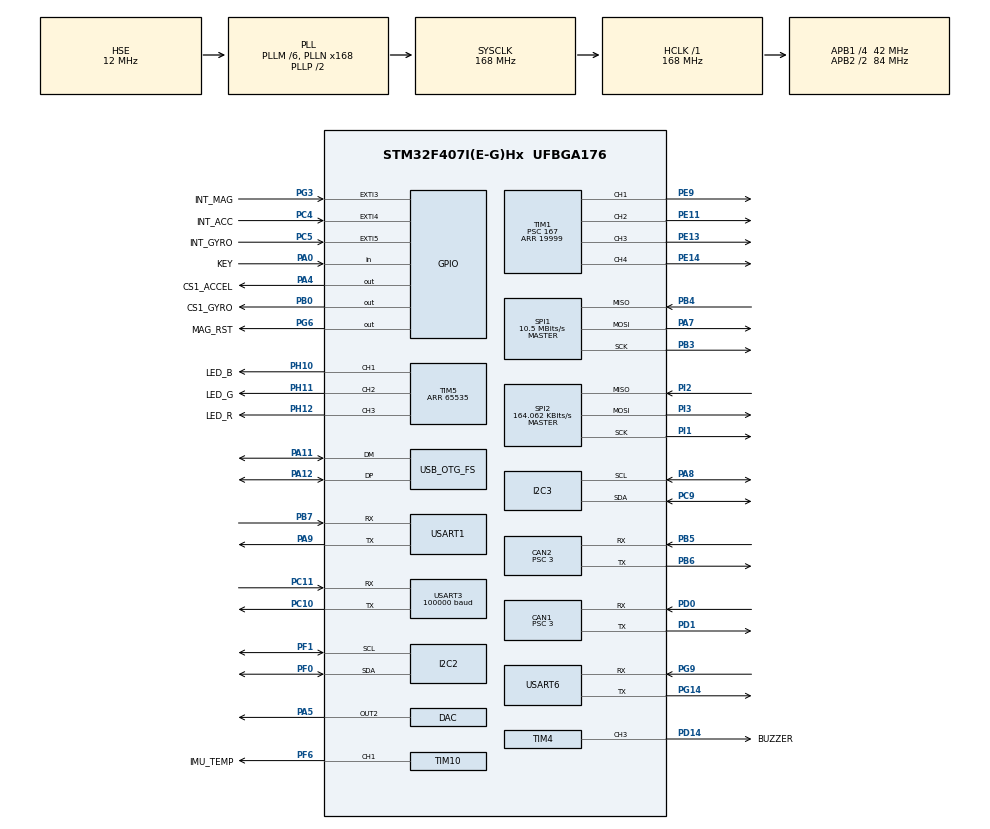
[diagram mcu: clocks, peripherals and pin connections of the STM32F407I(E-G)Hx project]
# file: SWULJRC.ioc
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ADC1.Channel-0\#ChannelRegularConversion=ADC_CHANNEL_TEMPSENSOR
ADC1.NbrOfConversionFlag=1
ADC1.Rank-0\#ChannelRegularConversion=1
ADC1.SamplingTime-0\#ChannelRegularConversion=ADC_SAMPLETIME_3CYCLES
ADC1.master=1
CAN1.BS1=CAN_BS1_10TQ
CAN1.BS2=CAN_BS2_3TQ
CAN1.CalculateBaudRate=1000000
CAN1.CalculateTimeBit=1000
CAN1.CalculateTimeQuantum=71.42857142857143
CAN1.NART=ENABLE
CAN1.Prescaler=3
CAN1.TXFP=ENABLE
CAN2.BS1=CAN_BS1_10TQ
CAN2.BS2=CAN_BS2_3TQ
CAN2.CalculateBaudRate=1000000
CAN2.CalculateTimeBit=1000
CAN2.CalculateTimeQuantum=71.42857142857143
CAN2.NART=ENABLE
CAN2.Prescaler=3
CAN2.TXFP=ENABLE
Dma.I2C2_RX.0.Direction=DMA_PERIPH_TO_MEMORY
Dma.I2C2_RX.0.FIFOMode=DMA_FIFOMODE_DISABLE
Dma.I2C2_RX.0.Instance=DMA1_Stream2
Dma.I2C2_RX.0.MemDataAlignment=DMA_MDATAALIGN_BYTE
Dma.I2C2_RX.0.MemInc=DMA_MINC_ENABLE
Dma.I2C2_RX.0.Mode=DMA_NORMAL
Dma.I2C2_RX.0.PeriphDataAlignment=DMA_PDATAALIGN_BYTE
Dma.I2C2_RX.0.PeriphInc=DMA_PINC_DISABLE
Dma.I2C2_RX.0.Priority=DMA_PRIORITY_LOW
Dma.I2C2_TX.1.Direction=DMA_MEMORY_TO_PERIPH
Dma.I2C2_TX.1.FIFOMode=DMA_FIFOMODE_DISABLE
Dma.I2C2_TX.1.Instance=DMA1_Stream7
Dma.I2C2_TX.1.MemDataAlignment=DMA_MDATAALIGN_BYTE
Dma.I2C2_TX.1.MemInc=DMA_MINC_ENABLE
Dma.I2C2_TX.1.Mode=DMA_NORMAL
Dma.I2C2_TX.1.PeriphDataAlignment=DMA_PDATAALIGN_BYTE
Dma.I2C2_TX.1.PeriphInc=DMA_PINC_DISABLE
Dma.I2C2_TX.1.Priority=DMA_PRIORITY_LOW
Dma.Request0=I2C2_RX
Dma.Request1=I2C2_TX
Dma.Request2=SPI1_TX
Dma.Request3=SPI1_RX
Dma.Request4=USART6_RX
Dma.Request5=USART6_TX
Dma.Request6=USART1_RX
Dma.Request7=USART1_TX
Dma.Request8=USART3_RX
Dma.SPI1_RX.3.Direction=DMA_PERIPH_TO_MEMORY
Dma.SPI1_RX.3.FIFOMode=DMA_FIFOMODE_DISABLE
Dma.SPI1_RX.3.Instance=DMA2_Stream0
Dma.SPI1_RX.3.MemDataAlignment=DMA_MDATAALIGN_BYTE
Dma.SPI1_RX.3.MemInc=DMA_MINC_ENABLE
Dma.SPI1_RX.3.Mode=DMA_NORMAL
Dma.SPI1_RX.3.PeriphDataAlignment=DMA_PDATAALIGN_BYTE
Dma.SPI1_RX.3.PeriphInc=DMA_PINC_DISABLE
Dma.SPI1_RX.3.Priority=DMA_PRIORITY_HIGH
Dma.SPI1_TX.2.Direction=DMA_MEMORY_TO_PERIPH
Dma.SPI1_TX.2.FIFOMode=DMA_FIFOMODE_DISABLE
Dma.SPI1_TX.2.Instance=DMA2_Stream3
Dma.SPI1_TX.2.MemDataAlignment=DMA_MDATAALIGN_BYTE
Dma.SPI1_TX.2.MemInc=DMA_MINC_ENABLE
Dma.SPI1_TX.2.Mode=DMA_NORMAL
Dma.SPI1_TX.2.PeriphDataAlignment=DMA_PDATAALIGN_BYTE
Dma.SPI1_TX.2.PeriphInc=DMA_PINC_DISABLE
Dma.SPI1_TX.2.Priority=DMA_PRIORITY_HIGH
Dma.USART1_RX.6.Direction=DMA_PERIPH_TO_MEMORY
Dma.USART1_RX.6.FIFOMode=DMA_FIFOMODE_DISABLE
Dma.USART1_RX.6.Instance=DMA2_Stream2
Dma.USART1_RX.6.MemDataAlignment=DMA_MDATAALIGN_BYTE
Dma.USART1_RX.6.MemInc=DMA_MINC_ENABLE
Dma.USART1_RX.6.Mode=DMA_NORMAL
Dma.USART1_RX.6.PeriphDataAlignment=DMA_PDATAALIGN_BYTE
Dma.USART1_RX.6.PeriphInc=DMA_PINC_DISABLE
Dma.USART1_RX.6.Priority=DMA_PRIORITY_VERY_HIGH
Dma.USART1_TX.7.Direction=DMA_MEMORY_TO_PERIPH
Dma.USART1_TX.7.FIFOMode=DMA_FIFOMODE_DISABLE
Dma.USART1_TX.7.Instance=DMA2_Stream7
Dma.USART1_TX.7.MemDataAlignment=DMA_MDATAALIGN_BYTE
Dma.USART1_TX.7.MemInc=DMA_MINC_ENABLE
Dma.USART1_TX.7.Mode=DMA_NORMAL
Dma.USART1_TX.7.PeriphDataAlignment=DMA_PDATAALIGN_BYTE
Dma.USART1_TX.7.PeriphInc=DMA_PINC_DISABLE
Dma.USART1_TX.7.Priority=DMA_PRIORITY_VERY_HIGH
Dma.USART3_RX.8.Direction=DMA_PERIPH_TO_MEMORY
Dma.USART3_RX.8.FIFOMode=DMA_FIFOMODE_DISABLE
Dma.USART3_RX.8.Instance=DMA1_Stream1
Dma.USART3_RX.8.MemDataAlignment=DMA_MDATAALIGN_BYTE
Dma.USART3_RX.8.MemInc=DMA_MINC_ENABLE
Dma.USART3_RX.8.Mode=DMA_NORMAL
Dma.USART3_RX.8.PeriphDataAlignment=DMA_PDATAALIGN_BYTE
Dma.USART3_RX.8.PeriphInc=DMA_PINC_DISABLE
Dma.USART3_RX.8.Priority=DMA_PRIORITY_LOW
Dma.USART6_RX.4.Direction=DMA_PERIPH_TO_MEMORY
Dma.USART6_RX.4.FIFOMode=DMA_FIFOMODE_DISABLE
Dma.USART6_RX.4.Instance=DMA2_Stream1
Dma.USART6_RX.4.MemDataAlignment=DMA_MDATAALIGN_BYTE
Dma.USART6_RX.4.MemInc=DMA_MINC_ENABLE
Dma.USART6_RX.4.Mode=DMA_NORMAL
Dma.USART6_RX.4.PeriphDataAlignment=DMA_PDATAALIGN_BYTE
Dma.USART6_RX.4.PeriphInc=DMA_PINC_DISABLE
Dma.USART6_RX.4.Priority=DMA_PRIORITY_HIGH
Dma.USART6_TX.5.Direction=DMA_MEMORY_TO_PERIPH
Dma.USART6_TX.5.FIFOMode=DMA_FIFOMODE_DISABLE
Dma.USART6_TX.5.Instance=DMA2_Stream6
Dma.USART6_TX.5.MemDataAlignment=DMA_MDATAALIGN_BYTE
Dma.USART6_TX.5.MemInc=DMA_MINC_ENABLE
Dma.USART6_TX.5.Mode=DMA_NORMAL
Dma.USART6_TX.5.PeriphDataAlignment=DMA_PDATAALIGN_BYTE
Dma.USART6_TX.5.PeriphInc=DMA_PINC_DISABLE
Dma.USART6_TX.5.Priority=DMA_PRIORITY_HIGH
FREERTOS.Tasks01=defaultTask,0,128,StartDefaultTask,Default,NULL,Dynamic,NULL,NULL
FREERTOS.configENABLE_FPU=1
FREERTOS.configMAX_TASK_NAME_LEN=32
FREERTOS.configMINIMAL_STACK_SIZE=128
FREERTOS.configTOTAL_HEAP_SIZE=20000
I2C2.I2C_Mode=I2C_Fast
I2C3.I2C_Mode=I2C_Fast
Mcu.Family=STM32F4
Mcu.Name=STM32F407I(E-G)Hx
Mcu.Package=UFBGA176
NVIC.CAN1_RX0_IRQn=true\:5\:0\:false\:false\:true\:true\:true\:true\:true
NVIC.CAN1_RX1_IRQn=true\:5\:0\:false\:false\:true\:true\:true\:true\:true
NVIC.DMA1_Stream1_IRQn=true\:5\:0\:false\:false\:true\:true\:false\:true\:true
NVIC.DMA1_Stream2_IRQn=true\:5\:0\:false\:false\:true\:true\:false\:true\:true
NVIC.DMA1_Stream7_IRQn=true\:5\:0\:false\:false\:true\:true\:false\:true\:true
NVIC.DMA2_Stream0_IRQn=true\:5\:0\:false\:false\:true\:true\:false\:true\:true
NVIC.DMA2_Stream1_IRQn=true\:5\:0\:false\:false\:true\:true\:false\:true\:true
NVIC.DMA2_Stream2_IRQn=true\:5\:0\:false\:false\:true\:true\:false\:true\:true
NVIC.DMA2_Stream3_IRQn=true\:5\:0\:false\:false\:true\:true\:false\:true\:true
NVIC.DMA2_Stream6_IRQn=true\:5\:0\:false\:false\:true\:true\:false\:true\:true
NVIC.DMA2_Stream7_IRQn=true\:5\:0\:false\:false\:true\:true\:false\:true\:true
NVIC.EXTI3_IRQn=true\:5\:0\:false\:false\:true\:false\:true\:true\:true
NVIC.EXTI4_IRQn=true\:5\:0\:false\:false\:true\:false\:true\:true\:true
NVIC.EXTI9_5_IRQn=true\:5\:0\:false\:false\:true\:false\:true\:true\:true
NVIC.I2C2_ER_IRQn=true\:5\:0\:false\:false\:true\:true\:true\:true\:true
NVIC.I2C2_EV_IRQn=true\:5\:0\:false\:false\:true\:true\:true\:true\:true
NVIC.I2C3_ER_IRQn=true\:5\:0\:false\:false\:true\:true\:true\:true\:true
NVIC.I2C3_EV_IRQn=true\:5\:0\:false\:false\:true\:true\:true\:true\:true
NVIC.OTG_FS_IRQn=true\:5\:0\:false\:false\:true\:true\:false\:true\:true
NVIC.PriorityGroup=NVIC_PRIORITYGROUP_4
NVIC.SPI1_IRQn=true\:5\:0\:false\:false\:true\:true\:true\:true\:true
NVIC.SPI2_IRQn=true\:5\:0\:false\:false\:true\:true\:true\:true\:true
NVIC.TIM8_TRG_COM_TIM14_IRQn=true\:15\:0\:true\:false\:true\:false\:false\:true\:true
NVIC.TimeBase=TIM8_TRG_COM_TIM14_IRQn
NVIC.TimeBaseIP=TIM14
NVIC.USART1_IRQn=true\:5\:0\:false\:false\:true\:true\:true\:true\:true
NVIC.USART3_IRQn=true\:5\:0\:false\:false\:true\:true\:true\:true\:true
NVIC.USART6_IRQn=true\:5\:0\:false\:false\:true\:true\:false\:true\:true
PA0-WKUP.GPIO_Label=KEY
PA0-WKUP.GPIO_PuPd=GPIO_PULLUP
PA0-WKUP.Signal=GPIO_Input
PA11.Mode=Host_Only
PA11.Signal=USB_OTG_FS_DM
PA12.Mode=Host_Only
PA12.Signal=USB_OTG_FS_DP
PA13.Mode=Serial_Wire
PA13.Signal=SYS_JTMS-SWDIO
PA14.Mode=Serial_Wire
PA14.Signal=SYS_JTCK-SWCLK
PA4.GPIO_Label=CS1_ACCEL
PA4.GPIO_PuPd=GPIO_PULLUP
PA4.GPIO_Speed=GPIO_SPEED_FREQ_HIGH
PA4.PinState=GPIO_PIN_SET
PA4.Signal=GPIO_Output
PA5.Signal=COMP_DAC2_group
PA7.Mode=Full_Duplex_Master
PA7.Signal=SPI1_MOSI
PA8.Mode=I2C
PA8.Signal=I2C3_SCL
PA9.Mode=Asynchronous
PA9.Signal=USART1_TX
PB0.GPIO_Label=CS1_GYRO
PB0.GPIO_PuPd=GPIO_PULLUP
PB0.GPIO_Speed=GPIO_SPEED_FREQ_HIGH
PB0.PinState=GPIO_PIN_SET
PB0.Signal=GPIO_Output
PB3.Mode=Full_Duplex_Master
PB3.Signal=SPI1_SCK
PB4.Mode=Full_Duplex_Master
PB4.Signal=SPI1_MISO
PB5.Mode=CAN_Activate
PB5.Signal=CAN2_RX
PB6.Mode=CAN_Activate
PB6.Signal=CAN2_TX
PB7.Mode=Asynchronous
PB7.Signal=USART1_RX
PC10.Mode=Asynchronous
PC10.Signal=USART3_TX
PC11.Mode=Asynchronous
PC11.Signal=USART3_RX
PC4.GPIO_Label=INT_ACC
PC4.Signal=GPXTI4
PC5.GPIO_Label=INT_GYRO
PC5.Signal=GPXTI5
PC9.Mode=I2C
PC9.Signal=I2C3_SDA
PD0.Mode=CAN_Activate
PD0.Signal=CAN1_RX
PD1.Mode=CAN_Activate
PD1.Signal=CAN1_TX
PD14.GPIO_Label=BUZZER
PD14.GPIO_PuPd=GPIO_PULLUP
PD14.GPIO_Speed=GPIO_SPEED_FREQ_VERY_HIGH
PD14.Signal=S_TIM4_CH3
PE11.Signal=S_TIM1_CH2
PE13.Signal=S_TIM1_CH3
PE14.Signal=S_TIM1_CH4
PE9.Signal=S_TIM1_CH1
PF0.Mode=I2C
PF0.Signal=I2C2_SDA
PF1.Mode=I2C
PF1.Signal=I2C2_SCL
PF6.GPIO_Label=IMU_TEMP
PF6.GPIO_PuPd=GPIO_PULLUP
PF6.GPIO_Speed=GPIO_SPEED_FREQ_HIGH
PF6.Signal=S_TIM10_CH1
PG14.Mode=Asynchronous
PG14.Signal=USART6_TX
PG3.GPIO_Label=INT_MAG
PG3.GPIO_PuPd=GPIO_PULLUP
PG3.Signal=GPXTI3
PG6.GPIO_Label=MAG_RST
PG6.Signal=GPIO_Output
PG9.Mode=Asynchronous
PG9.Signal=USART6_RX
PH0-OSC_IN.Mode=HSE-External-Oscillator
PH0-OSC_IN.Signal=RCC_OSC_IN
PH1-OSC_OUT.Mode=HSE-External-Oscillator
PH1-OSC_OUT.Signal=RCC_OSC_OUT
PH10.GPIO_Label=LED_B
PH10.GPIO_PuPd=GPIO_PULLUP
PH10.GPIO_Speed=GPIO_SPEED_FREQ_HIGH
PH10.Signal=S_TIM5_CH1
PH11.GPIO_Label=LED_G
PH11.GPIO_PuPd=GPIO_PULLUP
PH11.GPIO_Speed=GPIO_SPEED_FREQ_HIGH
PH11.Signal=S_TIM5_CH2
PH12.GPIO_Label=LED_R
PH12.GPIO_PuPd=GPIO_PULLUP
PH12.GPIO_Speed=GPIO_SPEED_FREQ_HIGH
PH12.Signal=S_TIM5_CH3
PI1.Mode=Full_Duplex_Master
PI1.Signal=SPI2_SCK
PI2.Mode=Full_Duplex_Master
PI2.Signal=SPI2_MISO
PI3.Mode=Full_Duplex_Master
PI3.Signal=SPI2_MOSI
ProjectManager.HeapSize=0x200
ProjectManager.StackSize=0x400
ProjectManager.TargetToolchain=Makefile
RCC.48MHZClocksFreq_Value=48000000
RCC.AHBFreq_Value=168000000
RCC.APB1CLKDivider=RCC_HCLK_DIV4
RCC.APB1Freq_Value=42000000
RCC.APB1TimFreq_Value=84000000
RCC.APB2CLKDivider=RCC_HCLK_DIV2
RCC.APB2Freq_Value=84000000
RCC.APB2TimFreq_Value=168000000
RCC.CortexFreq_Value=168000000
RCC.HCLKFreq_Value=168000000
RCC.HSE_VALUE=12000000
RCC.HSI_VALUE=16000000
RCC.LSE_VALUE=32768
RCC.PLLM=6
RCC.PLLN=168
RCC.PLLQ=7
RCC.SYSCLKFreq_VALUE=168000000
RCC.SYSCLKSource=RCC_SYSCLKSOURCE_PLLCLK
RCC.VCOOutputFreq_Value=336000000
RTC.AsynchPrediv=124
RTC.SynchPrediv=3199
SH.COMP_DAC2_group.0=DAC_OUT2,DAC_OUT2
SH.S_TIM10_CH1.0=TIM10_CH1,PWM Generation1 CH1
SH.S_TIM1_CH1.0=TIM1_CH1,PWM Generation1 CH1
SH.S_TIM1_CH2.0=TIM1_CH2,PWM Generation2 CH2
SH.S_TIM1_CH3.0=TIM1_CH3,PWM Generation3 CH3
SH.S_TIM1_CH4.0=TIM1_CH4,PWM Generation4 CH4
SH.S_TIM4_CH3.0=TIM4_CH3,PWM Generation3 CH3
SH.S_TIM5_CH1.0=TIM5_CH1,PWM Generation1 CH1
SH.S_TIM5_CH2.0=TIM5_CH2,PWM Generation2 CH2
SH.S_TIM5_CH3.0=TIM5_CH3,PWM Generation3 CH3
SPI1.BaudRatePrescaler=SPI_BAUDRATEPRESCALER_8
SPI1.CLKPhase=SPI_PHASE_2EDGE
SPI1.CLKPolarity=SPI_POLARITY_HIGH
SPI1.CalculateBaudRate=10.5 MBits/s
SPI1.Direction=SPI_DIRECTION_2LINES
SPI1.Mode=SPI_MODE_MASTER
SPI1.VirtualType=VM_MASTER
SPI2.BaudRatePrescaler=SPI_BAUDRATEPRESCALER_256
SPI2.CLKPhase=SPI_PHASE_2EDGE
SPI2.CLKPolarity=SPI_POLARITY_HIGH
SPI2.CalculateBaudRate=164.062 KBits/s
SPI2.Direction=SPI_DIRECTION_2LINES
SPI2.Mode=SPI_MODE_MASTER
SPI2.VirtualType=VM_MASTER
STMicroelectronics.X-CUBE-ALGOBUILD.1.4.0.LibraryCcDSPOoLibraryJjDSPOoLibrary=true
TIM1.Channel-PWM\ Generation1\ CH1=TIM_CHANNEL_1
TIM1.Channel-PWM\ Generation2\ CH2=TIM_CHANNEL_2
TIM1.Channel-PWM\ Generation3\ CH3=TIM_CHANNEL_3
TIM1.Channel-PWM\ Generation4\ CH4=TIM_CHANNEL_4
TIM1.Period=19999
TIM1.Prescaler=167
TIM10.Channel=TIM_CHANNEL_1
TIM10.Period=4999
TIM10.Prescaler=167
TIM4.Channel-PWM\ Generation3\ CH3=TIM_CHANNEL_3
TIM4.Prescaler=167
TIM5.Channel-PWM\ Generation1\ CH1=TIM_CHANNEL_1
TIM5.Channel-PWM\ Generation2\ CH2=TIM_CHANNEL_2
TIM5.Channel-PWM\ Generation3\ CH3=TIM_CHANNEL_3
TIM5.Period=65535
USART1.VirtualMode=VM_ASYNC
USART3.BaudRate=100000
USART3.Parity=PARITY_EVEN
USART3.StopBits=STOPBITS_2
USART3.VirtualMode=VM_ASYNC
USART3.WordLength=WORDLENGTH_9B
USART6.VirtualMode=VM_ASYNC
USB_HOST.USBH_HandleTypeDef-HID_FS=hUsbHostFS
USB_HOST.USBH_PROCESS_STACK_SIZE-HID_FS=512
USB_HOST.USBH_USE_OS-HID_FS=0
USB_HOST.VirtualModeFS=Hid
USB_OTG_FS.VirtualMode=Host_Only
USB_OTG_FS.phy_itface=HCD_PHY_EMBEDDED
USB_OTG_FS.speed=HCD_SPEED_LOW
VP_ADC1_TempSens_Input.Mode=IN-TempSens
VP_ADC1_Vref_Input.Mode=IN-Vrefint
VP_CRC_VS_CRC.Mode=CRC_Activate
VP_FREERTOS_VS_CMSIS_V1.Mode=CMSIS_V1
VP_RNG_VS_RNG.Mode=RNG_Activate
VP_RTC_VS_RTC_Activate.Mode=RTC_Enabled
VP_STMicroelectronics.X-CUBE-ALGOBUILD_VS_DSPOoLibraryJjLibrary_1.4.0_1.4.0.Mode=DSPOoLibraryJjLibrary
VP_SYS_VS_tim14.Mode=TIM14
VP_TIM10_VS_ClockSourceINT.Mode=Enable_Timer
VP_TIM1_VS_ClockSourceINT.Mode=Internal
VP_TIM4_VS_ClockSourceINT.Mode=Internal
VP_TIM5_VS_ClockSourceINT.Mode=Internal
VP_USB_HOST_VS_USB_HOST_HID_FS.Mode=HID_FS
board=custom

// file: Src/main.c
/* USER CODE BEGIN Header */
/**
 ******************************************************************************
 * @file           : main.c
 * @brief          : Main program body
 ******************************************************************************
 * @attention
 *
 * Copyright (c) 2024 STMicroelectronics.
 * All rights reserved.
 *
 * This software is licensed under terms that can be found in the LICENSE file
 * in the root directory of this software component.
 * If no LICENSE file comes with this software, it is provided AS-IS.
 *
 ******************************************************************************
 */
/* USER CODE END Header */
#include "main.h"
#include "cmsis_os.h"
#include "adc.h"
#include "can.h"
#include "crc.h"
#include "dac.h"
#include "dma.h"
#include "i2c.h"
#include "rng.h"
#include "rtc.h"
#include "spi.h"
#include "tim.h"
#include "usart.h"
#include "usb_host.h"
#include "gpio.h"

/* USER CODE BEGIN Includes */
#include "bsp_log.h"
/* USER CODE END Includes */

/* USER CODE BEGIN PD */
#ifdef __GNUC__
#define PUTCHAR_PROTOTYPE int __io_putchar(int ch)
#else
#define PUTCHAR_PROTOTYPE int fputc(int ch, FILE *f)
#endif

PUTCHAR_PROTOTYPE
{
  HAL_UART_Transmit(&huart6, (uint8_t *)&ch, 1, HAL_MAX_DELAY);
  return ch;
}
/* USER CODE END PD */

void SystemClock_Config(void);
void MX_FREERTOS_Init(void);

/* USER CODE BEGIN 0 */

/**
 * @brief 重定向printf，针对gcc编译器
 *
 * @param fd
 * @param pBuffer
 * @param size
 * @return int
 */
int _write(int fd, char *pBuffer, int size)
{
  for (int i = 0; i < size; i++)
  {
    while ((USART6->SR & 0X40) == 0)
      ;
    USART6->DR = (uint8_t)pBuffer[i];
  }
  return size;
}

/* USER CODE END 0 */

int main(void)
{

  /* MCU Configuration--------------------------------------------------------*/

  /* Reset of all peripherals, Initializes the Flash interface and the Systick. */
  HAL_Init();

  /* Configure the system clock */
  SystemClock_Config();

  /* Initialize all configured peripherals */
  MX_GPIO_Init();
  MX_DMA_Init();
  MX_CAN1_Init();
  MX_CAN2_Init();
  MX_I2C2_Init();
  MX_USART1_UART_Init();
  MX_USART6_UART_Init();
  MX_I2C3_Init();
  MX_SPI1_Init();
  MX_ADC1_Init();
  MX_CRC_Init();
  MX_DAC_Init();
  MX_RNG_Init();
  MX_RTC_Init();
  MX_SPI2_Init();
  MX_TIM1_Init();
  MX_TIM4_Init();
  MX_TIM5_Init();
  MX_TIM10_Init();
  MX_USART3_UART_Init();

  /* Call init function for freertos objects (in cmsis_os2.c) */
  MX_FREERTOS_Init();

  /* Start scheduler */
  osKernelStart();

  /* We should never get here as control is now taken by the scheduler */

  /* Infinite loop */
  while (1)
  {

  }
}

void SystemClock_Config(void)
{
  RCC_OscInitTypeDef RCC_OscInitStruct = {0};
  RCC_ClkInitTypeDef RCC_ClkInitStruct = {0};

  /** Configure the main internal regulator output voltage
   */
  __HAL_RCC_PWR_CLK_ENABLE();
  __HAL_PWR_VOLTAGESCALING_CONFIG(PWR_REGULATOR_VOLTAGE_SCALE1);

  /** Initializes the RCC Oscillators according to the specified parameters
   * in the RCC_OscInitTypeDef structure.
   */
  RCC_OscInitStruct.OscillatorType = RCC_OSCILLATORTYPE_LSI | RCC_OSCILLATORTYPE_HSE;
  RCC_OscInitStruct.HSEState = RCC_HSE_ON;
  RCC_OscInitStruct.LSIState = RCC_LSI_ON;
  RCC_OscInitStruct.PLL.PLLState = RCC_PLL_ON;
  RCC_OscInitStruct.PLL.PLLSource = RCC_PLLSOURCE_HSE;
  RCC_OscInitStruct.PLL.PLLM = 6;
  RCC_OscInitStruct.PLL.PLLN = 168;
  RCC_OscInitStruct.PLL.PLLP = RCC_PLLP_DIV2;
  RCC_OscInitStruct.PLL.PLLQ = 7;
  if (HAL_RCC_OscConfig(&RCC_OscInitStruct) != HAL_OK)
  {
    Error_Handler();
  }

  /** Initializes the CPU, AHB and APB buses clocks
   */
  RCC_ClkInitStruct.ClockType = RCC_CLOCKTYPE_HCLK | RCC_CLOCKTYPE_SYSCLK | RCC_CLOCKTYPE_PCLK1 | RCC_CLOCKTYPE_PCLK2;
  RCC_ClkInitStruct.SYSCLKSource = RCC_SYSCLKSOURCE_PLLCLK;
  RCC_ClkInitStruct.AHBCLKDivider = RCC_SYSCLK_DIV1;
  RCC_ClkInitStruct.APB1CLKDivider = RCC_HCLK_DIV4;
  RCC_ClkInitStruct.APB2CLKDivider = RCC_HCLK_DIV2;

  if (HAL_RCC_ClockConfig(&RCC_ClkInitStruct, FLASH_LATENCY_5) != HAL_OK)
  {
    Error_Handler();
  }
}

void HAL_TIM_PeriodElapsedCallback(TIM_HandleTypeDef *htim)
{
  if (htim->Instance == TIM14)
  {
    HAL_IncTick();
  }
}

void Error_Handler(void)
{
  __disable_irq();
  while (1)
  {
  }
}

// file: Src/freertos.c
/* USER CODE BEGIN Header */
/**
 ******************************************************************************
 * File Name          : freertos.c
 * Description        : Code for freertos applications
 ******************************************************************************
 * @attention
 *
 * Copyright (c) 2024 STMicroelectronics.
 * All rights reserved.
 *
 * This software is licensed under terms that can be found in the LICENSE file
 * in the root directory of this software component.
 * If no LICENSE file comes with this software, it is provided AS-IS.
 *
 ******************************************************************************
 */
/* USER CODE END Header */

#include "FreeRTOS.h"
#include "task.h"
#include "main.h"
#include "cmsis_os.h"

/* USER CODE BEGIN Includes */
#include "usbh_hid.h"
#include "usbh_core.h"
/* USER CODE END Includes */

/* USER CODE BEGIN Variables */
extern HID_JOY_Info_TypeDef joy_info;
extern USBH_HandleTypeDef hUsbHostFS;
/* USER CODE END Variables */
osThreadId defaultTaskHandle;

void StartDefaultTask(void const * argument);

extern void MX_USB_HOST_Init(void);
void MX_FREERTOS_Init(void); /* (MISRA C 2004 rule 8.1) */

/* GetIdleTaskMemory prototype (linked to static allocation support) */
void vApplicationGetIdleTaskMemory( StaticTask_t **ppxIdleTaskTCBBuffer, StackType_t **ppxIdleTaskStackBuffer, uint32_t *pulIdleTaskStackSize );

/* USER CODE BEGIN GET_IDLE_TASK_MEMORY */
static StaticTask_t xIdleTaskTCBBuffer;
static StackType_t xIdleStack[configMINIMAL_STACK_SIZE];

void vApplicationGetIdleTaskMemory(StaticTask_t **ppxIdleTaskTCBBuffer, StackType_t **ppxIdleTaskStackBuffer, uint32_t *pulIdleTaskStackSize)
{
  *ppxIdleTaskTCBBuffer = &xIdleTaskTCBBuffer;
  *ppxIdleTaskStackBuffer = &xIdleStack[0];
  *pulIdleTaskStackSize = configMINIMAL_STACK_SIZE;
  /* place for user code */
}
/* USER CODE END GET_IDLE_TASK_MEMORY */

void MX_FREERTOS_Init(void) {

  /* Create the thread(s) */
  /* definition and creation of defaultTask */
  osThreadDef(defaultTask, StartDefaultTask, osPriorityNormal, 0, 128);
  defaultTaskHandle = osThreadCreate(osThread(defaultTask), NULL);

}

void StartDefaultTask(void const * argument)
{
  /* init code for USB_HOST */
  MX_USB_HOST_Init();
  /* USER CODE BEGIN StartDefaultTask */
  osThreadTerminate(NULL); // 避免空置和切换占用cpu
  /* Infinite loop */
  for (;;)
  {
    osMessagePut(hUsbHostFS.os_event, 1, 10);
    // USBH_Process(&hUsbHostFS);
    // printf("Here is the default task!\r\n");
    // if (USBH_HID_GetDeviceType(&hUsbHostFS) == HID_JOYSTICK)
    // {
    //   printf("This is a joystick device!\r\n");
    //   if (USBH_HID_GetJoyInfo(&hUsbHostFS) != NULL)
    //   {
    //     printf("Joystick info:\r\n");
    //     if (joy_info.L_X != JOY_L_X_INIT || joy_info.L_Y != JOY_L_Y_INIT) // 0X80/0X7F?Byte1 Byte2?????
    //     {
    //       printf("(L_x, L_y):(0x%.2X, 0x%.2X)\r\n", joy_info.L_X, joy_info.L_Y);
    //     }
    //     if (joy_info.R_X != JOY_R_X_INIT || joy_info.R_Y != JOY_R_Y_INIT) // 0X80/0X7F?Byte3 Byte4?????
    //     {
    //       printf("(R_x, R_y):(0x%.2X, 0x%.2X)\r\n", joy_info.R_X, joy_info.R_Y);
    //     }
    //     if (joy_info.Buttons_1 != BUTTONS1_L_INIT) // 0X08 ?Byte5?????
    //     {
    //       printf("Buttons_1: 0x%.2X\r\n", joy_info.Buttons_1);
    //     }
    //     if (joy_info.Buttons_2 != BUTTONS1_R_INIT) // 0X00 ?Byte6?????
    //     {
    //       printf("Buttons_2: 0x%.2X\r\n", joy_info.Buttons_2);
    //     }
    //     if (joy_info.ID != 0x08 || joy_info.Mode != 0x00) // 0x7C?mode???0x74?mode??
    //     {
    //       printf("ID:0x%X, Mode:0x%X)\r\n", joy_info.ID, joy_info.Mode);
    //     }
    //   }
    // }
    // else
    // {
    //   // printf("Failed to get joystick info!\r\n");
    // }
    osDelay(1);
  }
  /* USER CODE END StartDefaultTask */
}
